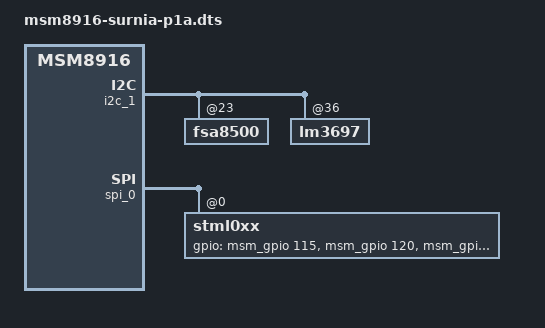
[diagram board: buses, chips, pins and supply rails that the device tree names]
/* Copyright (c) 2014, Motorola Mobility LLC. All rights reserved.
*
* This program is free software; you can redistribute it and/or modify
* it under the terms of the GNU General Public License version 2 and
* only version 2 as published by the Free Software Foundation.
*
* This program is distributed in the hope that it will be useful,
* but WITHOUT ANY WARRANTY; without even the implied warranty of
* MERCHANTABILITY or FITNESS FOR A PARTICULAR PURPOSE.  See the
* GNU General Public License for more details.
*/

/dts-v1/;

#include "msm8916-styx.dtsi"

/ {
	qcom,board-id = <0x42 0x81a0>;
};

&i2c_1 {
	fsa8500@23 {
		status = "ok";
	};
	lm3697@36 {
		status = "ok";
	};
	bd65b60@64 {
		status = "disabled";
	};
};

&spi_0 {
	stml0xx@0 {
		gpios = <&msm_gpio 115 0>,       /* IRQ */
			<&msm_gpio 120 0>,       /* RESET */
			<&msm_gpio 121 0>,       /* BSLEN */
			<&msm_gpio 113 0>,       /* WakeIRQ */
			<&msm_gpio 4 0>,         /* SPI Ready for Receive */
			<&msm_gpio 38 0>;        /* SPI Data Ack */
	};
};
